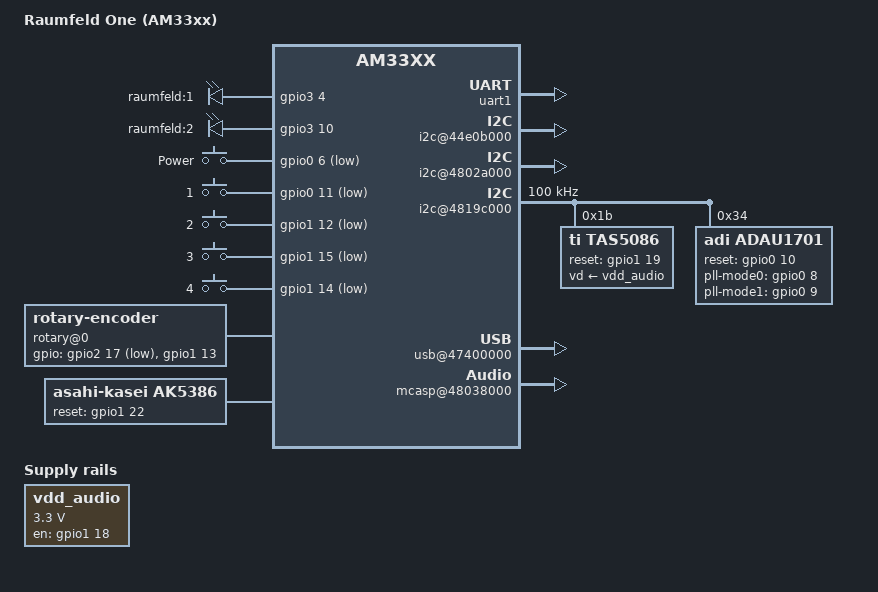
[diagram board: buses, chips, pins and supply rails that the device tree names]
/*
 * This program is free software; you can redistribute it and/or modify
 * it under the terms of the GNU General Public License version 2 as
 * published by the Free Software Foundation.
 */

/ {
	model = "Raumfeld One (AM33xx)";
	compatible = "ti,am335x-raumfeld-one", "ti,am33xx";

	chosen {
		bootargs = "console=ttyO0,115200n8";
	};

	am3358_pinmux: pinmux@44e10800 {
		spi0_pins: pinmux_spi0_pins {
			pinctrl-single,pins = <
				0x150 0x28	/* SPI0_CLK */
				0x154 0x18	/* SPI0_D0  */
				0x158 0x38	/* SPI0_D1  */
				0x15C 0x18	/* SPI0_CS0 */
			>;
		};

		i2c3_pins: pinmux_i2c3_pins {
			pinctrl-single,pins = <
				0x178 0x23	/* I2C2_SDA */
				0x17c 0x23	/* I2C2_SCL */
			>;
		};

		led_pins: pinmux_led_pins {
			pinctrl-single,pins = <
				0x118 0x7	/* GPIO3_4 */
				0x130 0x7	/* GPIO3_10 */
			>;
		};

		button_pins: pinmux_button_pins {
			pinctrl-single,pins = <
				0x160 0x77	/* GPIO0_6 */
				0xdc  0x77	/* GPIO0_11 */
				0x30  0x77	/* GPIO1_12 */
				0x3c  0x77	/* GPIO1_15 */
				0x38  0x77	/* GPIO1_14 */
			>;
		};

		rotary_pins: pinmux_rotary_pins {
			pinctrl-single,pins = <
				0xcc 0x77	/* GPIO2_17 */
				0x134 0x77	/* GPIO1_13 */
			>;
		};

		audio_pins: audio_pins {
			pinctrl-single,pins = <
				0x1ac 0x28	/* MCASP0_MCLK_OUT */
				0x190 0x08	/* MCASP0_BCLK_OUT */
				0x194 0x08	/* MCASP0_WCLK_OUT */
				0x198 0x08	/* MCASP0_DATA_OUT */
				0x1a8 0x28	/* MCASP0_DATA_IN  */
				0x078 0x26	/* MCASP0_BCLK_IN  */
				0x1a4 0x28	/* MCASP0_WCLK_IN  */
				0x19c 0x28	/* MCASP0_MCLK_IN  */
				0x1a0 0x27	/* MCASP0_BCLK_IN -> GPIO */

				0x40 0x3f	/* gpmc_a0.-> gpio1_16, - (overtemperrature) - in*/
				0x4c 0x7	/* gpmc_a3.-> gpio1_19, - (/reset) - out*/
				0x58 0xf	/* gpmc_a6.-> gpio1_22, - (/reset ak5386) - out */
				0xd0 0x7	/* LCD_DATA12 -> GPIO0_8 (PLL_MODE0) */
				0xd4 0x7	/* LCD_DATA13 -> GPIO0_9 (PLL_MODE1) */
				0xd8 0x7	/* LCD_DATA14 -> GPIO0_10 */
			>;
		};
	};

	ocp {
		uart1: serial@44e09000 {
			status = "okay";
		};

		i2c@44e0b000 {
			status = "okay";
		};

		i2c@4802a000 {
			status = "okay";
		};

		i2c@4819c000 {
			status = "okay";
			pinctrl-names = "default";
			pinctrl-0 = <&i2c3_pins>;
			clock-frequency = <100000>;

			tas5086: tas5086@27 {
				compatible = "ti,tas5086";
				reg = <0x1b>;
				reset-gpio = <&gpio1 19 0>;
				vd-supply = <&vdd_audio>;
			};

			adau1701: adau1701@34 {
				compatible = "adi,adau1701";
				reg = <0x34>;
				reset-gpio = <&gpio0 10 0>;
				adi,pll-mode0-gpio = <&gpio0 8 0>;
				adi,pll-mode1-gpio = <&gpio0 9 0>;
				adi,pin-config = <0x4 0x7 0x5 0x5 0x4 0x4
						  0x4 0x4 0x4 0x4 0x4 0x4>;
			};
		};

		leds {
			compatible = "gpio-leds";
			pinctrl-names = "default";
			pinctrl-0 = <&led_pins>;

			d1 {
				label = "raumfeld:1";
				gpios = <&gpio3 4 0>;
			};

			d2 {
				label = "raumfeld:2";
				gpios = <&gpio3 10 0>;
				default-state = "on";
			};
		};

		gpio-keys {
			compatible = "gpio-keys";
			pinctrl-names = "default";
			pinctrl-0 = <&button_pins>;

			power {
				label = "Power";
				gpios = <&gpio0 6 1>;
				linux,code = <116>; /* KEY_POWER */
				gpio-key,wakeup;
			};

			one {
				label = "1";
				gpios = <&gpio0 11 1>;
				linux,code = <2>; /* KEY_1 */
				gpio-key,wakeup;
			};

			two {
				label = "2";
				gpios = <&gpio1 12 1>;
				linux,code = <3>; /* KEY_2 */
				gpio-key,wakeup;
			};

			three {
				label = "3";
				gpios = <&gpio1 15 1>;
				linux,code = <4>; /* KEY_3 */
				gpio-key,wakeup;
			};

			four {
				label = "4";
				gpios = <&gpio1 14 1>;
				linux,code = <5>; /* KEY_4 */
				gpio-key,wakeup;
			};
		};

		rotary@0 {
			compatible = "rotary-encoder";
			pinctrl-names = "default";
			pinctrl-0 = <&rotary_pins>;
			gpios = <&gpio2 17 9>, <&gpio1 13 0>;
			linux,axis = <0>;	/* REL_X */
			rotary-encoder,relative-axis;
		};

		usb@47400000 {
			status = "okay";
			port0-mode = <1>;
		};

		mcasp@48038000 {
			status = "okay";
			op-mode = <0>;	  /* MCASP_IIS_MODE */
			tdm-slots = <2>;
			num-serializer = <16>;
			serial-dir = <  1 2 0 0 /* 0: INACTIVE, 1: TX, 2: RX */
					0 0 0 0
					0 0 0 0
					0 0 0 0 >;
			tx-num-evt = <1>;
			rx-num-evt = <1>;
		};

		ak5386: ak5386@0 {
			compatible = "asahi-kasei,ak5386";
			reset-gpio = <&gpio1 22 0>;
		};
	};

	audio {
		compatible = "sue,am33xx-generic-audio";
		pinctrl-names = "default";
		pinctrl-0 = <&audio_pins>;
		sue,card-name = "One";
		clocks = <&si5351a 0>;

		link@0 {
			sue,name = "analog output";
			sue,stream-name = "I2S";

			sue,platform = <&mcasp0>;
			sue,cpu-dai-name = "48038000.mcasp";

			sue,codec = <&tas5086>;
			sue,codec-dai-name = "tas5086-hifi";
		};

		link@1 {
			sue,name = "analog input";
			sue,stream-name = "I2S";

			sue,platform = <&mcasp0>;
			sue,cpu-dai-name = "48038000.mcasp";

			sue,codec = <&ak5386>;
			sue,codec-dai-name = "ak5386-hifi";
		};

		link@2 {
			sue,name = "DSP dummy";
			sue,stream-name = "I2S";

			sue,platform = <&mcasp0>;
			sue,cpu-dai-name = "48038000.mcasp";

			sue,codec = <&adau1701>;
			sue,codec-dai-name = "adau1701";
		};
	};

	vdd_audio: vdd_audio_regulator {
		compatible = "regulator-fixed";
		regulator-name = "vdd-audio";
		regulator-min-microvolt = <3300000>;
		regulator-max-microvolt = <3300000>;
		gpio = <&gpio1 18 0>;
		enable-active-high;
		regulator-boot-on;
	};
};

&cpsw_emac0 {
	phy_id = <&davinci_mdio 4>;
};
